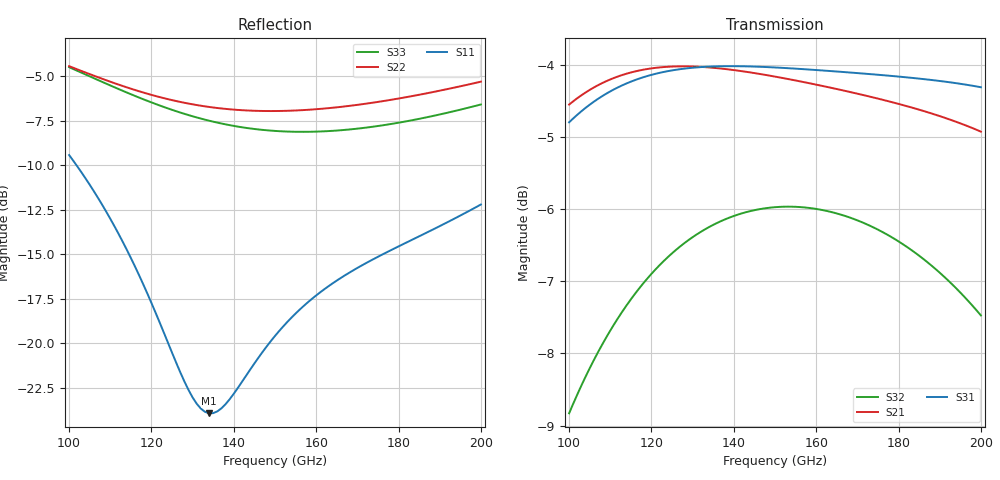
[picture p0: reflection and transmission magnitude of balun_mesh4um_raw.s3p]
#  GHZ S DB R 50.0
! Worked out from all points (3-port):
!   101 points, 100 GHz to 200 GHz, reference 50 ohm
!   strongest paths, dB at 100 GHz, 125 GHz, 150 GHz, 175 GHz, 200 GHz:
!     S31: -4.8, -4.1, -4.0, -4.1, -4.3
!     S21: -4.6, -4.0, -4.2, -4.5, -4.9
!     S32: -8.8, -6.6, -6.0, -6.3, -7.5
!   lowest |S11| = -23.9 dB at 134 GHz (marker M1), VSWR 1.14, Z = 44.4 + j2.16 ohm
!   |S11| at or under -10 dB: 101.8 GHz to end of sweep
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100  -9.44 125.8  -4.55 -16.9  -4.80 158.9
     -4.55 -16.9  -4.44 59.0  -8.83 88.4
     -4.80 158.9  -8.83 88.4  -4.50 48.1
115  -15.22 113.9  -4.11 -40.6  -4.23 133.7
     -4.11 -40.6  -5.71 46.4  -7.25 65.2
     -4.23 133.7  -7.25 65.2  -6.02 32.9
129  -22.63 134.4  -4.02 -60.6  -4.05 112.3
     -4.02 -60.6  -6.54 36.9  -6.43 45.1
     -4.05 112.3  -6.43 45.1  -7.19 21.6
134  -23.94 157.6  -4.04 -67.3  -4.03 105.1
     -4.04 -67.3  -6.73 33.7  -6.25 38.4
     -4.03 105.1  -6.25 38.4  -7.50 18.0
138  -23.43 175.6  -4.06 -72.5  -4.02 99.4
     -4.06 -72.5  -6.84 31.2  -6.14 33.1
     -4.02 99.4  -6.14 33.1  -7.71 15.2
150  -19.60 -161.4  -4.16 -87.6  -4.04 83.2
     -4.16 -87.6  -6.96 23.1  -5.97 17.8
     -4.04 83.2  -5.97 17.8  -8.08 6.9
160  -17.32 -158.4  -4.28 -99.7  -4.07 70.3
     -4.28 -99.7  -6.86 15.8  -6.00 5.5
     -4.07 70.3  -6.00 5.5  -8.12 -0.3
173  -15.39 -158.8  -4.44 -115.1  -4.13 53.8
     -4.44 -115.1  -6.52 5.1  -6.23 -10.1
     -4.13 53.8  -6.23 -10.1  -7.87 -10.6
187  -13.77 -160.2  -4.66 -131.7  -4.21 36.1
     -4.66 -131.7  -5.96 -7.9  -6.73 -26.9
     -4.21 36.1  -6.73 -26.9  -7.31 -23.2
200  -12.21 -162.5  -4.93 -147.5  -4.31 19.4
     -4.93 -147.5  -5.31 -21.3  -7.47 -42.6
     -4.31 19.4  -7.47 -42.6  -6.60 -36.1
